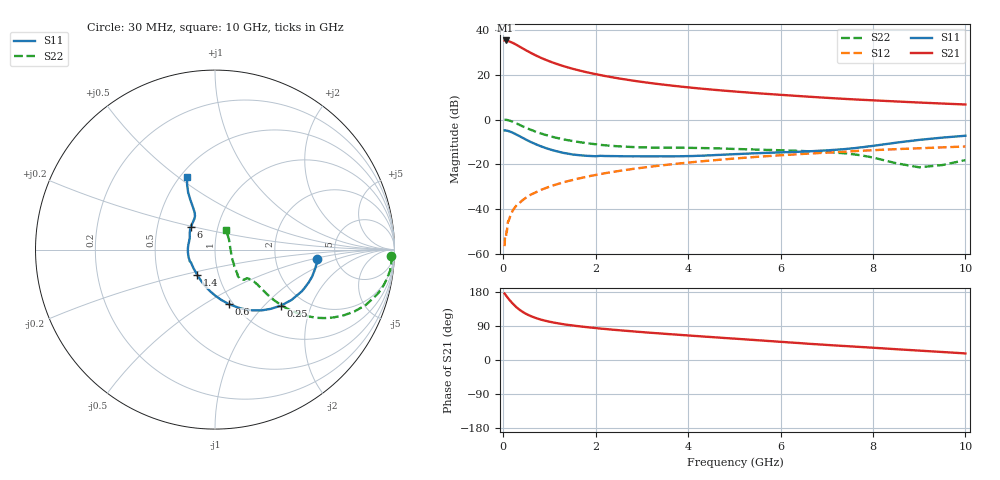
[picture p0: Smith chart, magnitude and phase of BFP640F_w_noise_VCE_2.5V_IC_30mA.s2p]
! Infineon Technologies  Discrete & RF Semiconductors
! BFP640F
! VCE =  2.5 V,  IC =  30 mA
! Common Emitter S-Parameters:  Apr 2013
# GHz  S  MA  R  50
!  f  S11  S21  S12  S22
! GHz  MAG  ANG  MAG  ANG  MAG  ANG  MAG  ANG
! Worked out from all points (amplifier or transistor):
!   99 points, 30 MHz to 10 GHz, reference 50 ohm
!   highest |S21| = 35.2 dB at 50 MHz (marker M1)
!   |S21| within 3 dB of that: start of sweep to 375.2 MHz
!   unconditionally stable (mu >= 1): 1.84 GHz to end of sweep
!   at 350 MHz: K = 0.47, MSG = 34.9 dB, |S12| = -37.3 dB
!   at 3.5 GHz: K = 1.06, MAG = 16.4 dB, |S12| = -20.3 dB
!   at 10 GHz: K = 1.04, MAG = 8.1 dB, |S12| = -12.0 dB
!   lowest NFmin = 1.02 dB at 450 MHz
!   S11 on the Smith chart (normalised r, x): 30 MHz: 3.59, -0.54; 250 MHz: 1.54, -1.26; 600 MHz: 0.96, -0.65; 1.4 GHz: 0.79, -0.23; 6 GHz: 0.74, +0.20; 10 GHz: 0.54, +0.54
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0.03  0.5721 -5.1  57.62 175.4  0.0015 115.8  0.979 -2.0
0.05  0.5701 -8.9  57.87 172.2  0.0025 95.0  0.9855 -4.5
0.08  0.5635 -13.8  57.11 167.1  0.0032 92.3  0.9775 -8.0
0.14  0.5406 -24.1  54.59 157.9  0.0064 78.1  0.9439 -14.6
0.2  0.5105 -33.3  51.45 149.6  0.0091 80.5  0.8957 -20.1
0.25  0.4823 -40.3  48.44 143.4  0.0109 75.3  0.8502 -23.9
0.3  0.4534 -46.7  45.43 137.8  0.0126 76.4  0.8061 -27.0
0.4  0.3996 -58.0  39.62 128.6  0.0153 73.1  0.7201 -32.0
0.5  0.3532 -67.2  34.59 121.4  0.0183 73.2  0.6484 -35.2
0.6  0.314 -75.6  30.44 115.6  0.0212 72.6  0.5884 -37.4
0.7  0.2825 -82.9  27 111.0  0.0237 72.1  0.5371 -38.8
0.9  0.2349 -96.3  21.82 103.8  0.0291 71.6  0.4588 -40.3
1.1  0.2027 -108.4  18.19 98.6  0.0344 71.6  0.4023 -40.6
1.4  0.1734 -124.6  14.48 92.7  0.0423 70.8  0.3457 -40.2
1.7  0.1583 -139.2  12.02 88.2  0.0501 70.0  0.3072 -39.4
2.4  0.1527 -165.3  8.586 79.7  0.0684 67.3  0.2565 -40.5
3.4  0.1512 169.7  6.103 70.0  0.0941 62.5  0.2358 -43.7
5.1  0.1702 145.4  4.139 55.6  0.1372 53.7  0.2194 -48.5
6  0.1845 136.4  3.552 48.0  0.1595 48.5  0.2064 -49.3
6.7  0.1975 128.0  3.184 42.1  0.1757 44.6  0.1942 -49.0
8.5  0.3041 116.5  2.527 28.5  0.2182 34.1  0.1062 -26.6
10  0.4344 110.8  2.161 17.4  0.25 25.2  0.1244 59.8
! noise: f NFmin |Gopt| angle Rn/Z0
0.45  1.02  0.21  -173  0.07
0.9  1.03  0.22  -168  0.07
1.5  1.05  0.23  -162  0.08
1.9  1.08  0.24  -156  0.08
2.4  1.11  0.24  -146  0.09
3.5  1.19  0.25  -137  0.1
5.5  1.38  0.26  -119  0.14
10  1.83  0.45  -83  0.47
